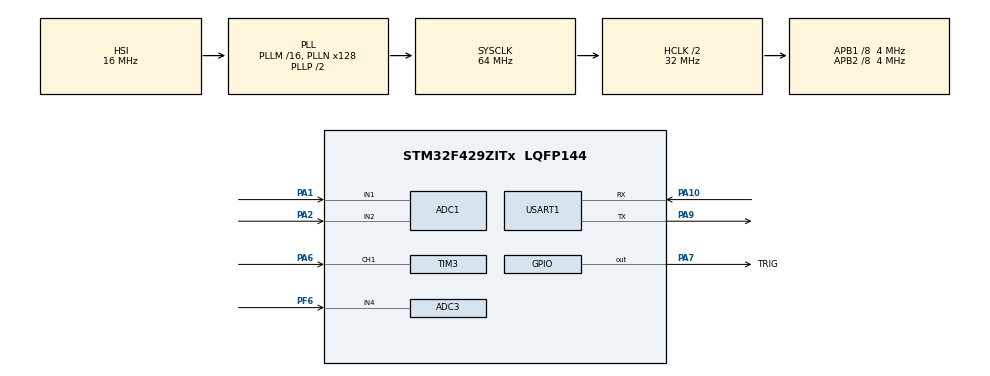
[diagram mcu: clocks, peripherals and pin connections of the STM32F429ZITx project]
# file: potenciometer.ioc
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ADC1.Channel-1\#ChannelRegularConversion=ADC_CHANNEL_1
ADC1.Channel-2\#ChannelRegularConversion=ADC_CHANNEL_2
ADC1.ContinuousConvMode=DISABLE
ADC1.NbrOfConversion=2
ADC1.NbrOfConversionFlag=1
ADC1.Rank-1\#ChannelRegularConversion=1
ADC1.Rank-2\#ChannelRegularConversion=2
ADC1.SamplingTime-1\#ChannelRegularConversion=ADC_SAMPLETIME_3CYCLES
ADC1.SamplingTime-2\#ChannelRegularConversion=ADC_SAMPLETIME_3CYCLES
ADC1.ScanConvMode=ENABLE
ADC1.master=1
ADC3.Channel-1\#ChannelRegularConversion=ADC_CHANNEL_4
ADC3.ContinuousConvMode=DISABLE
ADC3.NbrOfConversionFlag=1
ADC3.Rank-1\#ChannelRegularConversion=1
ADC3.SamplingTime-1\#ChannelRegularConversion=ADC_SAMPLETIME_3CYCLES
ADC3.ScanConvMode=DISABLE
Mcu.Family=STM32F4
Mcu.Name=STM32F429ZITx
Mcu.Package=LQFP144
NVIC.PriorityGroup=NVIC_PRIORITYGROUP_4
NVIC.TIM1_UP_TIM10_IRQn=true\:0\:0\:false\:false\:true\:false\:true
NVIC.TIM3_IRQn=true\:0\:0\:false\:false\:true\:true\:true
NVIC.TimeBase=TIM1_UP_TIM10_IRQn
NVIC.TimeBaseIP=TIM1
PA1.Signal=ADCx_IN1
PA10.Mode=Asynchronous
PA10.Signal=USART1_RX
PA2.Signal=ADCx_IN2
PA6.Signal=S_TIM3_CH1
PA7.GPIO_Label=TRIG
PA7.Signal=GPIO_Output
PA9.Mode=Asynchronous
PA9.Signal=USART1_TX
PF6.Mode=IN4
PF6.Signal=ADC3_IN4
ProjectManager.HeapSize=0x200
ProjectManager.StackSize=0x400
ProjectManager.TargetToolchain=MDK-ARM V5
RCC.48MHZClocksFreq_Value=32000000
RCC.AHBCLKDivider=RCC_SYSCLK_DIV2
RCC.AHBFreq_Value=32000000
RCC.APB1CLKDivider=RCC_HCLK_DIV8
RCC.APB1Freq_Value=4000000
RCC.APB1TimFreq_Value=8000000
RCC.APB2CLKDivider=RCC_HCLK_DIV8
RCC.APB2Freq_Value=4000000
RCC.APB2TimFreq_Value=8000000
RCC.CortexFreq_Value=32000000
RCC.HCLKFreq_Value=32000000
RCC.HSE_VALUE=25000000
RCC.HSI_VALUE=16000000
RCC.LSE_VALUE=32768
RCC.PLLN=128
RCC.SYSCLKFreq_VALUE=64000000
RCC.SYSCLKSource=RCC_SYSCLKSOURCE_PLLCLK
RCC.VCOOutputFreq_Value=128000000
SH.ADCx_IN1.0=ADC1_IN1,IN1
SH.ADCx_IN2.0=ADC1_IN2,IN2
SH.S_TIM3_CH1.0=TIM3_CH1,Input_Capture1_from_TI1
TIM3.Channel-Input_Capture1_from_TI1=TIM_CHANNEL_1
TIM3.ICFilter_CH1=4
TIM3.ICPolarity_CH1=TIM_INPUTCHANNELPOLARITY_BOTHEDGE
TIM3.Period=65535
TIM3.Prescaler=7
TIM4.Prescaler=7
USART1.VirtualMode=VM_ASYNC
VP_SYS_VS_tim1.Mode=TIM1
VP_TIM3_VS_ClockSourceINT.Mode=Internal
VP_TIM4_VS_ClockSourceINT.Mode=Internal
board=custom

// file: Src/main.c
/* USER CODE BEGIN Header */
/**
  ******************************************************************************
  * @file           : main.c
  * @brief          : Main program body
  ******************************************************************************
  * @attention
  *
  * <h2><center>&copy; Copyright (c) 2020 STMicroelectronics.
  * All rights reserved.</center></h2>
  *
  * This software component is licensed by ST under BSD 3-Clause license,
  * the "License"; You may not use this file except in compliance with the
  * License. You may obtain a copy of the License at:
  *                        opensource.org/licenses/BSD-3-Clause
  *
  ******************************************************************************
  */
/* USER CODE END Header */

#include "main.h"

/* USER CODE BEGIN Includes */
#include "stdio.h"
#include "stdlib.h"
#include "string.h"
/* USER CODE END Includes */

/* USER CODE BEGIN PTD */
#define usTIM TIM4

/* USER CODE END PTD */

ADC_HandleTypeDef hadc1;
ADC_HandleTypeDef hadc3;

TIM_HandleTypeDef htim3;
TIM_HandleTypeDef htim4;

UART_HandleTypeDef huart1;

void SystemClock_Config(void);
static void MX_GPIO_Init(void);
static void MX_ADC3_Init(void);
static void MX_USART1_UART_Init(void);
static void MX_ADC1_Init(void);
static void MX_TIM3_Init(void);
static void MX_TIM4_Init(void);
/* USER CODE BEGIN PFP */
void usDelay(uint32_t uSec);
/* USER CODE END PFP */

/* USER CODE BEGIN 0 */

uint8_t icFlag = 0;
uint8_t adcFlag = 0;
uint8_t captureIdx=0;
uint32_t edge1Time=0, edge2Time=0;

const float speedOfSound = 0.0343/2;
float distance;

char uartBuf[100];

uint32_t adcvalue[2];
char uartbuf[100];
/* USER CODE END 0 */

int main(void)
{

  /* MCU Configuration--------------------------------------------------------*/

  /* Reset of all peripherals, Initializes the Flash interface and the Systick. */
  HAL_Init();

  /* Configure the system clock */
  SystemClock_Config();

  /* Initialize all configured peripherals */
  MX_GPIO_Init();
  MX_ADC3_Init();
  MX_USART1_UART_Init();
  MX_ADC1_Init();
  MX_TIM3_Init();
  MX_TIM4_Init();

  /* Infinite loop */
  while (1)
  {

    /* USER CODE BEGIN 3 */

		HAL_ADC_Start(&hadc3);
	//	HAL_ADC_PollForConversion(&hadc3, 1000);
		//	adcvalue[0] = HAL_ADC_GetValue(&hadc3);
		HAL_ADC_PollForConversion(&hadc1, 1000);
			adcvalue[0] = HAL_ADC_GetValue(&hadc1);
		HAL_ADC_Stop(&hadc1);
		sprintf(uartbuf, "Voltage IR1 = %u\r\n", adcvalue[0]);
		HAL_UART_Transmit(&huart1, (uint8_t *)uartbuf, strlen(uartbuf), 100);
		HAL_Delay(1000);
	//	sprintf(uartbuf, "Voltage IR2 = %u\r\n", adcvalue[1]);
	//	HAL_UART_Transmit(&huart1, (uint8_t *)uartbuf, strlen(uartbuf), 100);
	//	HAL_Delay(1000);
//---------------------------------------------------------------------------------------------------
	/*	HAL_GPIO_WritePin(TRIG_GPIO_Port, TRIG_Pin, GPIO_PIN_RESET);   		//Set TRIG to LOW
		usDelay(3);
		HAL_GPIO_WritePin(TRIG_GPIO_Port, TRIG_Pin, GPIO_PIN_SET);        //Send TRIG signal
		usDelay(10);
		HAL_GPIO_WritePin(TRIG_GPIO_Port, TRIG_Pin, GPIO_PIN_RESET);      //Send TRIG signal

		HAL_TIM_IC_Start_IT(&htim3, TIM_CHANNEL_1);      		//Start IC timer
		uint32_t startTick = HAL_GetTick();
		do
		{
			if(icFlag) break;
		}while((HAL_GetTick() - startTick) < 500);  //500ms
		icFlag = 0;
		HAL_TIM_IC_Stop_IT(&htim3, TIM_CHANNEL_1);

		if(edge2Time > edge1Time)     		//Calculate distance in cm
		{
			distance = ((edge2Time - edge1Time) + 0.0f)*speedOfSound;
		}
		else
		{
			distance = 0.0f;
		}

		sprintf(uartBuf, "Distance from US sensor (cm)  = %.2f\r\n", distance); 		//Print to UART terminal
		HAL_UART_Transmit(&huart1, (uint8_t *)uartBuf, strlen(uartBuf), 100);
		HAL_Delay(1000);*/
//-----------------------------------------------------------------------------------------------------
		/*
		HAL_ADC_Start_IT (&hadc1);
    uint32_t startTick1 = HAL_GetTick();
		do
		{
			if(adcFlag) break;
		}while((HAL_GetTick() - startTick1) < 50);  //50ms
		adcFlag = 0;
		HAL_ADC_Stop_IT(&hadc1);
		sprintf(uartbuf, "Distance from IR1 sensor (cm)  = %u\r\n", adcvalue[0]); 		//Print to UART terminal
		HAL_UART_Transmit(&huart1, (uint8_t *)uartBuf, strlen(uartBuf), 100);
		HAL_Delay(1000);
		sprintf(uartbuf, "Distance from IR2 sensor (cm)  = %u\r\n", adcvalue[1]); 		//Print to UART terminal
		HAL_UART_Transmit(&huart1, (uint8_t *)uartBuf, strlen(uartBuf), 100);
		HAL_Delay(1000);*/
  }

  /* USER CODE END 3 */
}

void SystemClock_Config(void)
{
  RCC_OscInitTypeDef RCC_OscInitStruct = {0};
  RCC_ClkInitTypeDef RCC_ClkInitStruct = {0};

  /** Configure the main internal regulator output voltage
  */
  __HAL_RCC_PWR_CLK_ENABLE();
  __HAL_PWR_VOLTAGESCALING_CONFIG(PWR_REGULATOR_VOLTAGE_SCALE3);
  /** Initializes the CPU, AHB and APB busses clocks
  */
  RCC_OscInitStruct.OscillatorType = RCC_OSCILLATORTYPE_HSI;
  RCC_OscInitStruct.HSIState = RCC_HSI_ON;
  RCC_OscInitStruct.HSICalibrationValue = RCC_HSICALIBRATION_DEFAULT;
  RCC_OscInitStruct.PLL.PLLState = RCC_PLL_ON;
  RCC_OscInitStruct.PLL.PLLSource = RCC_PLLSOURCE_HSI;
  RCC_OscInitStruct.PLL.PLLM = 16;
  RCC_OscInitStruct.PLL.PLLN = 128;
  RCC_OscInitStruct.PLL.PLLP = RCC_PLLP_DIV2;
  RCC_OscInitStruct.PLL.PLLQ = 4;
  if (HAL_RCC_OscConfig(&RCC_OscInitStruct) != HAL_OK)
  {
    Error_Handler();
  }
  /** Initializes the CPU, AHB and APB busses clocks
  */
  RCC_ClkInitStruct.ClockType = RCC_CLOCKTYPE_HCLK|RCC_CLOCKTYPE_SYSCLK
                              |RCC_CLOCKTYPE_PCLK1|RCC_CLOCKTYPE_PCLK2;
  RCC_ClkInitStruct.SYSCLKSource = RCC_SYSCLKSOURCE_PLLCLK;
  RCC_ClkInitStruct.AHBCLKDivider = RCC_SYSCLK_DIV2;
  RCC_ClkInitStruct.APB1CLKDivider = RCC_HCLK_DIV8;
  RCC_ClkInitStruct.APB2CLKDivider = RCC_HCLK_DIV8;

  if (HAL_RCC_ClockConfig(&RCC_ClkInitStruct, FLASH_LATENCY_1) != HAL_OK)
  {
    Error_Handler();
  }
}

static void MX_ADC1_Init(void)
{

  ADC_ChannelConfTypeDef sConfig = {0};

  /** Configure the global features of the ADC (Clock, Resolution, Data Alignment and number of conversion)
  */
  hadc1.Instance = ADC1;
  hadc1.Init.ClockPrescaler = ADC_CLOCK_SYNC_PCLK_DIV2;
  hadc1.Init.Resolution = ADC_RESOLUTION_12B;
  hadc1.Init.ScanConvMode = ENABLE;
  hadc1.Init.ContinuousConvMode = DISABLE;
  hadc1.Init.DiscontinuousConvMode = DISABLE;
  hadc1.Init.ExternalTrigConvEdge = ADC_EXTERNALTRIGCONVEDGE_NONE;
  hadc1.Init.ExternalTrigConv = ADC_SOFTWARE_START;
  hadc1.Init.DataAlign = ADC_DATAALIGN_RIGHT;
  hadc1.Init.NbrOfConversion = 2;
  hadc1.Init.DMAContinuousRequests = DISABLE;
  hadc1.Init.EOCSelection = ADC_EOC_SINGLE_CONV;
  if (HAL_ADC_Init(&hadc1) != HAL_OK)
  {
    Error_Handler();
  }
  /** Configure for the selected ADC regular channel its corresponding rank in the sequencer and its sample time.
  */
  sConfig.Channel = ADC_CHANNEL_1;
  sConfig.Rank = 1;
  sConfig.SamplingTime = ADC_SAMPLETIME_3CYCLES;
  if (HAL_ADC_ConfigChannel(&hadc1, &sConfig) != HAL_OK)
  {
    Error_Handler();
  }
  /** Configure for the selected ADC regular channel its corresponding rank in the sequencer and its sample time.
  */
  sConfig.Channel = ADC_CHANNEL_2;
  sConfig.Rank = 2;
  if (HAL_ADC_ConfigChannel(&hadc1, &sConfig) != HAL_OK)
  {
    Error_Handler();
  }

}

static void MX_ADC3_Init(void)
{

  ADC_ChannelConfTypeDef sConfig = {0};

  /** Configure the global features of the ADC (Clock, Resolution, Data Alignment and number of conversion)
  */
  hadc3.Instance = ADC3;
  hadc3.Init.ClockPrescaler = ADC_CLOCK_SYNC_PCLK_DIV2;
  hadc3.Init.Resolution = ADC_RESOLUTION_12B;
  hadc3.Init.ScanConvMode = DISABLE;
  hadc3.Init.ContinuousConvMode = DISABLE;
  hadc3.Init.DiscontinuousConvMode = DISABLE;
  hadc3.Init.ExternalTrigConvEdge = ADC_EXTERNALTRIGCONVEDGE_NONE;
  hadc3.Init.ExternalTrigConv = ADC_SOFTWARE_START;
  hadc3.Init.DataAlign = ADC_DATAALIGN_RIGHT;
  hadc3.Init.NbrOfConversion = 1;
  hadc3.Init.DMAContinuousRequests = DISABLE;
  hadc3.Init.EOCSelection = ADC_EOC_SINGLE_CONV;
  if (HAL_ADC_Init(&hadc3) != HAL_OK)
  {
    Error_Handler();
  }
  /** Configure for the selected ADC regular channel its corresponding rank in the sequencer and its sample time.
  */
  sConfig.Channel = ADC_CHANNEL_4;
  sConfig.Rank = 1;
  sConfig.SamplingTime = ADC_SAMPLETIME_3CYCLES;
  if (HAL_ADC_ConfigChannel(&hadc3, &sConfig) != HAL_OK)
  {
    Error_Handler();
  }

}

static void MX_TIM3_Init(void)
{

  TIM_ClockConfigTypeDef sClockSourceConfig = {0};
  TIM_MasterConfigTypeDef sMasterConfig = {0};
  TIM_IC_InitTypeDef sConfigIC = {0};

  htim3.Instance = TIM3;
  htim3.Init.Prescaler = 7;
  htim3.Init.CounterMode = TIM_COUNTERMODE_UP;
  htim3.Init.Period = 65535;
  htim3.Init.ClockDivision = TIM_CLOCKDIVISION_DIV1;
  htim3.Init.AutoReloadPreload = TIM_AUTORELOAD_PRELOAD_DISABLE;
  if (HAL_TIM_Base_Init(&htim3) != HAL_OK)
  {
    Error_Handler();
  }
  sClockSourceConfig.ClockSource = TIM_CLOCKSOURCE_INTERNAL;
  if (HAL_TIM_ConfigClockSource(&htim3, &sClockSourceConfig) != HAL_OK)
  {
    Error_Handler();
  }
  if (HAL_TIM_IC_Init(&htim3) != HAL_OK)
  {
    Error_Handler();
  }
  sMasterConfig.MasterOutputTrigger = TIM_TRGO_RESET;
  sMasterConfig.MasterSlaveMode = TIM_MASTERSLAVEMODE_DISABLE;
  if (HAL_TIMEx_MasterConfigSynchronization(&htim3, &sMasterConfig) != HAL_OK)
  {
    Error_Handler();
  }
  sConfigIC.ICPolarity = TIM_INPUTCHANNELPOLARITY_BOTHEDGE;
  sConfigIC.ICSelection = TIM_ICSELECTION_DIRECTTI;
  sConfigIC.ICPrescaler = TIM_ICPSC_DIV1;
  sConfigIC.ICFilter = 4;
  if (HAL_TIM_IC_ConfigChannel(&htim3, &sConfigIC, TIM_CHANNEL_1) != HAL_OK)
  {
    Error_Handler();
  }

}

static void MX_TIM4_Init(void)
{

  TIM_ClockConfigTypeDef sClockSourceConfig = {0};
  TIM_MasterConfigTypeDef sMasterConfig = {0};

  htim4.Instance = TIM4;
  htim4.Init.Prescaler = 7;
  htim4.Init.CounterMode = TIM_COUNTERMODE_UP;
  htim4.Init.Period = 0;
  htim4.Init.ClockDivision = TIM_CLOCKDIVISION_DIV1;
  htim4.Init.AutoReloadPreload = TIM_AUTORELOAD_PRELOAD_DISABLE;
  if (HAL_TIM_Base_Init(&htim4) != HAL_OK)
  {
    Error_Handler();
  }
  sClockSourceConfig.ClockSource = TIM_CLOCKSOURCE_INTERNAL;
  if (HAL_TIM_ConfigClockSource(&htim4, &sClockSourceConfig) != HAL_OK)
  {
    Error_Handler();
  }
  sMasterConfig.MasterOutputTrigger = TIM_TRGO_RESET;
  sMasterConfig.MasterSlaveMode = TIM_MASTERSLAVEMODE_DISABLE;
  if (HAL_TIMEx_MasterConfigSynchronization(&htim4, &sMasterConfig) != HAL_OK)
  {
    Error_Handler();
  }

}

static void MX_USART1_UART_Init(void)
{

  huart1.Instance = USART1;
  huart1.Init.BaudRate = 115200;
  huart1.Init.WordLength = UART_WORDLENGTH_8B;
  huart1.Init.StopBits = UART_STOPBITS_1;
  huart1.Init.Parity = UART_PARITY_NONE;
  huart1.Init.Mode = UART_MODE_TX_RX;
  huart1.Init.HwFlowCtl = UART_HWCONTROL_NONE;
  huart1.Init.OverSampling = UART_OVERSAMPLING_16;
  if (HAL_UART_Init(&huart1) != HAL_OK)
  {
    Error_Handler();
  }

}

static void MX_GPIO_Init(void)
{
  GPIO_InitTypeDef GPIO_InitStruct = {0};

  /* GPIO Ports Clock Enable */
  __HAL_RCC_GPIOF_CLK_ENABLE();
  __HAL_RCC_GPIOA_CLK_ENABLE();

  /*Configure GPIO pin Output Level */
  HAL_GPIO_WritePin(TRIG_GPIO_Port, TRIG_Pin, GPIO_PIN_RESET);

  /*Configure GPIO pin : TRIG_Pin */
  GPIO_InitStruct.Pin = TRIG_Pin;
  GPIO_InitStruct.Mode = GPIO_MODE_OUTPUT_PP;
  GPIO_InitStruct.Pull = GPIO_NOPULL;
  GPIO_InitStruct.Speed = GPIO_SPEED_FREQ_LOW;
  HAL_GPIO_Init(TRIG_GPIO_Port, &GPIO_InitStruct);

}

/* USER CODE BEGIN 4 */
void usDelay(uint32_t uSec)
{
	if(uSec < 2) uSec = 2;
	usTIM->ARR = uSec - 1; 	/*sets the value in the auto-reload register*/
	usTIM->EGR = 1; 			/*Re-initialises the timer*/
	usTIM->SR &= ~1; 		//Resets the flag
	usTIM->CR1 |= 1; 		//Enables the counter
	while((usTIM->SR&0x0001) != 1);
	usTIM->SR &= ~(0x0001);
}

void HAL_TIM_IC_CaptureCallback(TIM_HandleTypeDef *htim)
{

		if(captureIdx == 0) //Fisrt edge
		{
			edge1Time = HAL_TIM_ReadCapturedValue(htim, TIM_CHANNEL_1);

			captureIdx = 1;
		}
		else if(captureIdx == 1) //Second edge
		{
			edge2Time = HAL_TIM_ReadCapturedValue(htim, TIM_CHANNEL_1);
			captureIdx = 0;
			icFlag = 1;
		}
}

void HAL_ADC_ConvCpltCallback( ADC_HandleTypeDef *hadc)
{
			adcvalue[0] = HAL_ADC_GetValue (&hadc1);
			adcvalue[1] = HAL_ADC_GetValue (&hadc1);
	    adcFlag = 1;
}
/* USER CODE END 4 */

void HAL_TIM_PeriodElapsedCallback(TIM_HandleTypeDef *htim)
{
  if (htim->Instance == TIM1) {
    HAL_IncTick();
  }
}

void Error_Handler(void)
{
}

/************************ (C) COPYRIGHT STMicroelectronics *****END OF FILE****/
